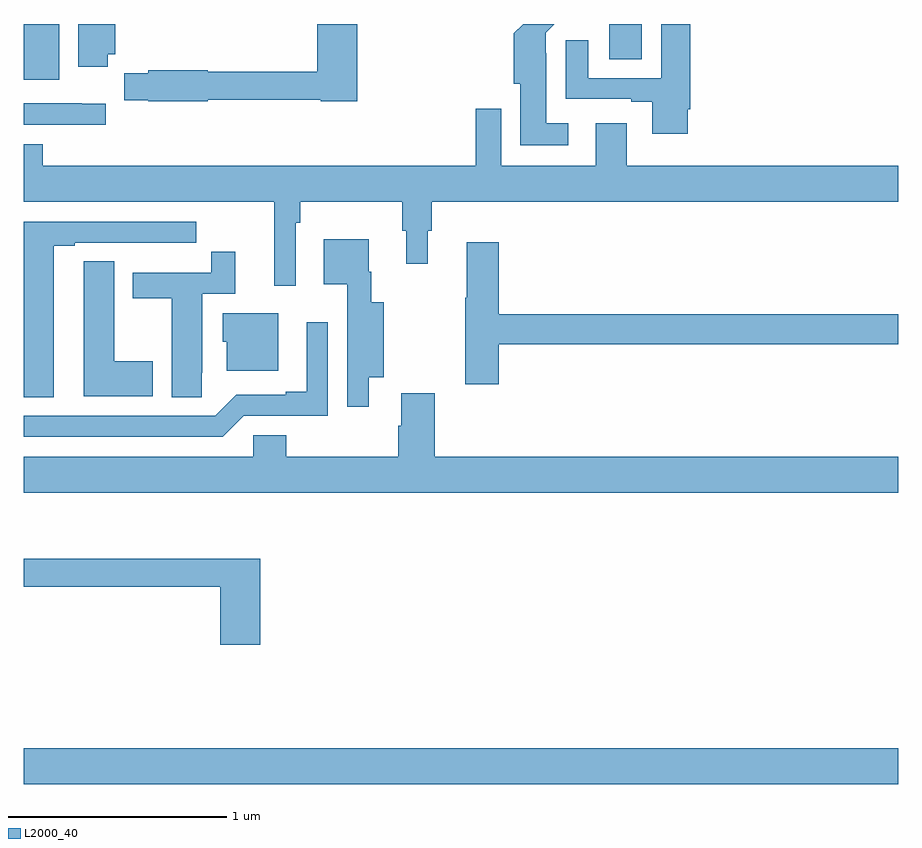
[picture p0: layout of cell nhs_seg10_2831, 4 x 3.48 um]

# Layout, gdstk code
import gdstk
lib = gdstk.Library(unit=1e-6, precision=1e-09)
def R(c, l, rs):  # rectangles x0, y0, x1, y1
    for r in rs: c.add(gdstk.rectangle(r[:2], r[2:], *l))
def P(c, l, *ps):  # polygons
    for p in ps: c.add(gdstk.Polygon(p, *l))
L2000_40 = (2000, 40)

nhs_seg10_2831 = lib.new_cell('nhs_seg10_2831')
R(nhs_seg10_2831, L2000_40, [(265,1259.024,269,1259.188), (265,1262.246,265.162,1262.5), (267.677,1262.338,267.826,1262.5)])
P(nhs_seg10_2831, L2000_40, [(268.036,1262.11),(268.049,1262.11),(268.049,1262.5),(267.917,1262.5),(267.917,1262.253),(267.583,1262.253),(267.583,1262.425),(267.479,1262.425),(267.479,1262.157),(267.779,1262.157),(267.779,1262.145),(267.875,1262.145),(267.875,1261.998),(268.036,1261.998)],
  [(265.842,1262.154),(266.358,1262.154),(266.358,1262.146),(266.525,1262.146),(266.525,1262.5),(266.342,1262.5),(266.342,1262.282),(265.842,1262.282),(265.842,1262.288),(265.57,1262.288),(265.57,1262.275),(265.459,1262.275),(265.459,1262.152),(265.57,1262.152),(265.57,1262.146),(265.842,1262.146)],
  [(265.384,1262.361),(265.418,1262.361),(265.418,1262.5),(265.25,1262.5),(265.25,1262.305),(265.384,1262.305)],
  [(267.49,1262.047),(267.391,1262.047),(267.391,1262.366),(267.387,1262.366),(267.387,1262.46),(267.427,1262.5),(267.284,1262.5),(267.242,1262.458),(267.242,1262.226),(267.272,1262.226),(267.272,1261.946),(267.49,1261.946)],
  [(265.376,1262.135),(265.265,1262.135),(265.265,1262.137),(265,1262.137),(265,1262.04),(265.376,1262.04)],
  [(266.244,1261.592),(266.264,1261.592),(266.264,1261.688),(266.731,1261.688),(266.731,1261.554),(266.75,1261.554),(266.75,1261.404),(266.848,1261.404),(266.848,1261.554),(266.867,1261.554),(266.867,1261.688),(269,1261.688),(269,1261.852),(267.757,1261.852),(267.757,1262.047),(267.617,1262.047),(267.617,1261.852),(267.183,1261.852),(267.183,1262.113),(267.067,1262.113),(267.067,1261.852),(265.088,1261.852),(265.088,1261.951),(265,1261.951),(265,1261.688),(266.147,1261.688),(266.147,1261.302),(266.244,1261.302)],
  [(265.138,1261.485),(265.234,1261.485),(265.234,1261.5),(265.51,1261.5),(265.51,1261.499),(265.676,1261.499),(265.676,1261.5),(265.789,1261.5),(265.789,1261.596),(265,1261.596),(265,1260.793),(265.138,1260.793)],
  [(266.578,1260.884),(266.646,1260.884),(266.646,1261.228),(266.59,1261.228),(266.59,1261.368),(266.577,1261.368),(266.577,1261.516),(266.372,1261.516),(266.372,1261.31),(266.479,1261.31),(266.479,1260.988),(266.48,1260.988),(266.48,1260.75),(266.578,1260.75)],
  [(267.173,1261.036),(269,1261.036),(269,1261.172),(267.173,1261.172),(267.173,1261.501),(267.026,1261.501),(267.026,1261.249),(267.019,1261.249),(267.019,1260.852),(267.173,1260.852)],
  [(265.815,1260.904),(265.816,1260.904),(265.816,1261.266),(265.967,1261.266),(265.967,1261.459),(265.858,1261.459),(265.858,1261.362),(265.499,1261.362),(265.499,1261.246),(265.676,1261.246),(265.676,1260.793),(265.815,1260.793)],
  [(265.591,1260.957),(265.414,1260.957),(265.414,1261.415),(265.275,1261.415),(265.275,1261.307),(265.274,1261.307),(265.274,1260.797),(265.591,1260.797)],
  [(266.164,1261.177),(265.91,1261.177),(265.91,1261.047),(265.928,1261.047),(265.928,1260.914),(266.164,1260.914)],
  [(266.007,1260.708),(266.391,1260.708),(266.391,1261.135),(266.294,1261.135),(266.294,1260.817),(266.198,1260.817),(266.198,1260.804),(265.971,1260.804),(265.875,1260.708),(265,1260.708),(265,1260.612),(265.911,1260.612)],
  [(266.726,1260.811),(266.726,1260.662),(266.714,1260.662),(266.714,1260.52),(266.201,1260.52),(266.201,1260.618),(266.049,1260.618),(266.049,1260.52),(265,1260.52),(265,1260.356),(269,1260.356),(269,1260.52),(266.879,1260.52),(266.879,1260.811)],
  [(266.081,1260.055),(265,1260.055),(265,1259.926),(265.898,1259.926),(265.898,1259.661),(266.081,1259.661)])

lib.write_gds('nhs_seg10_2831.gds')
